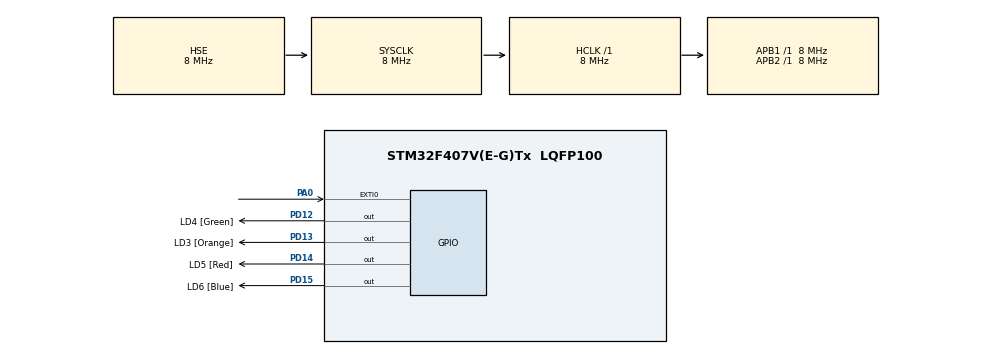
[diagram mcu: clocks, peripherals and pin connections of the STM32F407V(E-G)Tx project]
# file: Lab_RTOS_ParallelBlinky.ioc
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FREERTOS.HEAP_NUMBER=2
FREERTOS.Tasks01=defaultTask,0,128,StartDefaultTask,Default,NULL,Dynamic,NULL,NULL
FREERTOS.configTICK_RATE_HZ=100
Mcu.Family=STM32F4
Mcu.Name=STM32F407V(E-G)Tx
Mcu.Package=LQFP100
NVIC.EXTI0_IRQn=true\:5\:0\:false\:false\:true\:true\:true\:true\:true
NVIC.PriorityGroup=NVIC_PRIORITYGROUP_4
PA0-WKUP.Signal=GPXTI0
PD12.GPIO_Label=LD4 [Green]
PD12.GPIO_Speed=GPIO_SPEED_FREQ_VERY_HIGH
PD12.Signal=GPIO_Output
PD13.GPIO_Label=LD3 [Orange]
PD13.GPIO_Speed=GPIO_SPEED_FREQ_VERY_HIGH
PD13.Signal=GPIO_Output
PD14.GPIO_Label=LD5 [Red]
PD14.GPIO_Speed=GPIO_SPEED_FREQ_VERY_HIGH
PD14.Signal=GPIO_Output
PD15.GPIO_Label=LD6 [Blue]
PD15.GPIO_Speed=GPIO_SPEED_FREQ_VERY_HIGH
PD15.Signal=GPIO_Output
PH0-OSC_IN.Mode=HSE-External-Oscillator
PH0-OSC_IN.Signal=RCC_OSC_IN
PH1-OSC_OUT.Mode=HSE-External-Oscillator
PH1-OSC_OUT.Signal=RCC_OSC_OUT
ProjectManager.HeapSize=0x200
ProjectManager.StackSize=0x400
ProjectManager.TargetToolchain=Makefile
RCC.48MHZClocksFreq_Value=32000000
RCC.AHBFreq_Value=8000000
RCC.APB1Freq_Value=8000000
RCC.APB1TimFreq_Value=8000000
RCC.APB2Freq_Value=8000000
RCC.APB2TimFreq_Value=8000000
RCC.CortexFreq_Value=8000000
RCC.HCLKFreq_Value=8000000
RCC.HSE_VALUE=8000000
RCC.HSI_VALUE=16000000
RCC.LSE_VALUE=32768
RCC.PLLM=4
RCC.PLLN=64
RCC.PLLSourceVirtual=RCC_PLLSOURCE_HSE
RCC.SYSCLKFreq_VALUE=8000000
RCC.SYSCLKSource=RCC_SYSCLKSOURCE_HSE
RCC.VCOOutputFreq_Value=128000000
VP_FREERTOS_VS_CMSIS_V1.Mode=CMSIS_V1
board=custom

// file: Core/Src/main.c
/* USER CODE BEGIN Header */
/**
  ******************************************************************************
  * @file           : main.c
  * @brief          : Main program body
  ******************************************************************************
  * @attention
  *
  * Copyright (c) 2023 STMicroelectronics.
  * All rights reserved.
  *
  * This software is licensed under terms that can be found in the LICENSE file
  * in the root directory of this software component.
  * If no LICENSE file comes with this software, it is provided AS-IS.
  *
  ******************************************************************************
  */
/* USER CODE END Header */
#include "main.h"
#include "cmsis_os.h"
#include "gpio.h"

/* USER CODE BEGIN Includes */
# include "FreeRTOS.h"
#include "stm32f4xx_hal_cortex.h"
#include "stm32f4xx_hal_gpio.h"
# include "task.h"
# include "queue.h"
# include "semphr.h"
/* USER CODE END Includes */

/* USER CODE BEGIN PV */
xTaskHandle xTaskHandle1, xTaskHandle2, xTaskHandle3, xTaskHandle4;
xSemaphoreHandle xBinarySemaphore;
uint8_t buttonPressed = 0;
/* USER CODE END PV */

void SystemClock_Config(void);
void MX_FREERTOS_Init(void);
/* USER CODE BEGIN PFP */
void vTask1(void* pvParameters);
void vTask2(void* pvParameters);
void vTask3(void* pvParameters);
void vTask4(void* pvParameters);
/* USER CODE END PFP */

/* USER CODE BEGIN 0 */
void vTask1(void* pvParameters) {
  uint32_t tasksCount = 1;
  uint32_t led_state = 1;

  while (1) {
    vTaskDelay(500 / portTICK_RATE_MS);
    gpio_led_state(1, led_state);
    led_state = (led_state == 1)? 0 : 1;

    xSemaphoreTake(xBinarySemaphore, portMAX_DELAY);
    if (buttonPressed) {
      buttonPressed = 0;
      xSemaphoreGive(xBinarySemaphore);

      tasksCount++;
      if (tasksCount > 4) {
        vTaskDelete(xTaskHandle2);
        vTaskDelete(xTaskHandle3);
        vTaskDelete(xTaskHandle4);

        gpio_led_state(2, 0);
        gpio_led_state(3, 0);
        gpio_led_state(4, 0);

        tasksCount = 1;

      } else {
        switch (tasksCount) {
          case 2:
            xTaskCreate(
              vTask2,
              "TASK2",
              configMINIMAL_STACK_SIZE,
              NULL,
              1,
              &xTaskHandle2
            );
            break;

          case 3:
            xTaskCreate(
              vTask3,
              "TASK3",
              configMINIMAL_STACK_SIZE,
              NULL,
              1,
              &xTaskHandle3
            );
            break;

          case 4:
            xTaskCreate(
              vTask4,
              "TASK4",
              configMINIMAL_STACK_SIZE,
              NULL,
              1,
              &xTaskHandle4
            );
            break;
        }
      }

    } else {
      xSemaphoreGive(xBinarySemaphore);
    }
  }
}

void vTask2(void* pvParameters) {
  uint32_t led_state = 1;

  while (1) {
    vTaskDelay(500 / portTICK_RATE_MS);
    gpio_led_state(2, led_state);
    led_state = (led_state == 1)? 0 : 1;
  }
}

void vTask3(void* pvParameters) {
  uint32_t led_state = 1;

  while (1) {
    vTaskDelay(500 / portTICK_RATE_MS);
    gpio_led_state(3, led_state);
    led_state = (led_state == 1)? 0 : 1;
  }
}

void vTask4(void* pvParameters) {
  uint32_t led_state = 1;

  while (1) {
    vTaskDelay(500 / portTICK_RATE_MS);
    gpio_led_state(4, led_state);
    led_state = (led_state == 1)? 0 : 1;
  }
}

/**
  * @brief  The application entry point.
  * @retval int
  */
int main(void) {
  HAL_Init();
  SystemClock_Config();
  MX_GPIO_Init();

  xBinarySemaphore = xSemaphoreCreateBinary();
  xSemaphoreGive(xBinarySemaphore);

  xTaskCreate(
    vTask1,
    "TASK1",
    configMINIMAL_STACK_SIZE,
    NULL,
    1,
    NULL
  );

  vTaskStartScheduler();

  while (1);
}

/* USER CODE END 0 */

void SystemClock_Config(void)
{
  RCC_OscInitTypeDef RCC_OscInitStruct = {0};
  RCC_ClkInitTypeDef RCC_ClkInitStruct = {0};

  /** Configure the main internal regulator output voltage
  */
  __HAL_RCC_PWR_CLK_ENABLE();
  __HAL_PWR_VOLTAGESCALING_CONFIG(PWR_REGULATOR_VOLTAGE_SCALE1);

  /** Initializes the RCC Oscillators according to the specified parameters
  * in the RCC_OscInitTypeDef structure.
  */
  RCC_OscInitStruct.OscillatorType = RCC_OSCILLATORTYPE_HSE;
  RCC_OscInitStruct.HSEState = RCC_HSE_ON;
  RCC_OscInitStruct.PLL.PLLState = RCC_PLL_NONE;
  if (HAL_RCC_OscConfig(&RCC_OscInitStruct) != HAL_OK)
  {
    Error_Handler();
  }

  /** Initializes the CPU, AHB and APB buses clocks
  */
  RCC_ClkInitStruct.ClockType = RCC_CLOCKTYPE_HCLK|RCC_CLOCKTYPE_SYSCLK
                              |RCC_CLOCKTYPE_PCLK1|RCC_CLOCKTYPE_PCLK2;
  RCC_ClkInitStruct.SYSCLKSource = RCC_SYSCLKSOURCE_HSE;
  RCC_ClkInitStruct.AHBCLKDivider = RCC_SYSCLK_DIV1;
  RCC_ClkInitStruct.APB1CLKDivider = RCC_HCLK_DIV1;
  RCC_ClkInitStruct.APB2CLKDivider = RCC_HCLK_DIV1;

  if (HAL_RCC_ClockConfig(&RCC_ClkInitStruct, FLASH_LATENCY_0) != HAL_OK)
  {
    Error_Handler();
  }
}

/* USER CODE BEGIN 4 */
void HAL_GPIO_EXTI_Callback(uint16_t GPIO_Pin) {
  if (GPIO_Pin == USER_BUTTON_PIN) {
    HAL_NVIC_DisableIRQ(EXTI0_IRQn);
    xSemaphoreTakeFromISR(xBinarySemaphore, NULL);
    buttonPressed = 1;
    xSemaphoreGiveFromISR(xBinarySemaphore, NULL);
    HAL_NVIC_EnableIRQ(EXTI0_IRQn);
  } else {
    __NOP();
  }
}
/* USER CODE END 4 */

void Error_Handler(void)
{
  __disable_irq();
  while (1)
  {
  }
}
